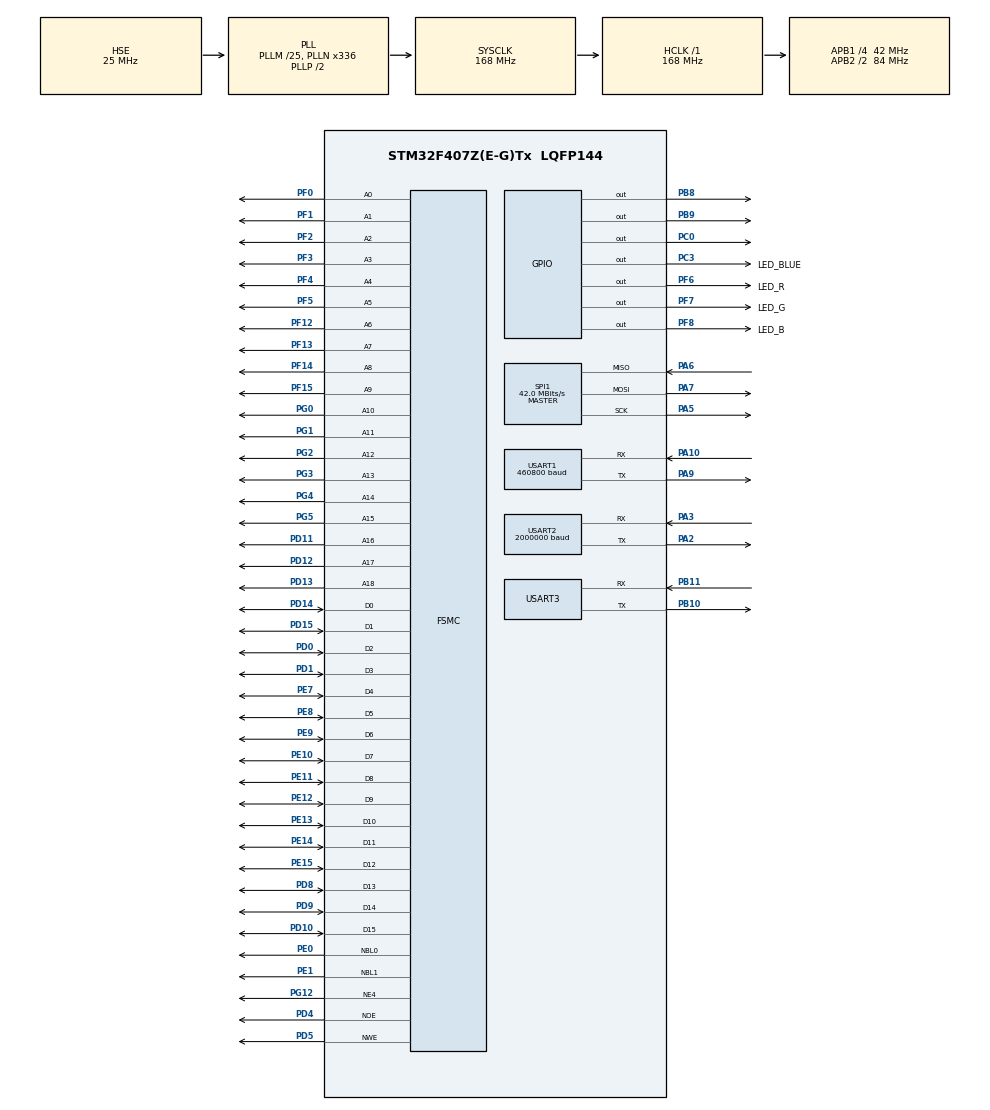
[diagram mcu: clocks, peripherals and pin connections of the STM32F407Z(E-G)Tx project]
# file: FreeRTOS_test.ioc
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FREERTOS.Tasks01=RobotCmd,24,128,robotcmd_task,Default,NULL,Dynamic,NULL,NULL;Imu,24,256,imu_task,Default,NULL,Dynamic,NULL,NULL;Body,24,512,body_task,Default,NULL,Dynamic,NULL,NULL;Remote,24,128,remote_task,Default,NULL,Dynamic,NULL,NULL;SendData,24,128,SendDataTask,Default,NULL,Dynamic,NULL,NULL
FREERTOS.Timers01=led,led_timer,osTimerPeriodic,Default,NULL,Dynamic,NULL
FREERTOS.configTICK_RATE_HZ=1000
FSMC.AddressSetupTime1=5
FSMC.BusTurnAroundDuration1=1
FSMC.DataSetupTime1=7
FSMC.WriteOperation1=FSMC_WRITE_OPERATION_ENABLE
Mcu.Family=STM32F4
Mcu.Name=STM32F407Z(E-G)Tx
Mcu.Package=LQFP144
NVIC.PriorityGroup=NVIC_PRIORITYGROUP_4
NVIC.TIM7_IRQn=true\:0\:0\:false\:false\:true\:false\:false\:true
NVIC.TimeBase=TIM7_IRQn
NVIC.TimeBaseIP=TIM7
NVIC.USART1_IRQn=true\:5\:0\:false\:false\:true\:true\:true\:true
NVIC.USART2_IRQn=true\:5\:0\:false\:false\:true\:true\:true\:true
NVIC.USART3_IRQn=true\:5\:0\:false\:false\:true\:true\:true\:true
PA10.Mode=Asynchronous
PA10.Signal=USART1_RX
PA2.Mode=Asynchronous
PA2.Signal=USART2_TX
PA3.Mode=Asynchronous
PA3.Signal=USART2_RX
PA5.Mode=Full_Duplex_Master
PA5.Signal=SPI1_SCK
PA6.Mode=Full_Duplex_Master
PA6.Signal=SPI1_MISO
PA7.Mode=Full_Duplex_Master
PA7.Signal=SPI1_MOSI
PA9.Mode=Asynchronous
PA9.Signal=USART1_TX
PB10.Mode=Asynchronous
PB10.Signal=USART3_TX
PB11.Mode=Asynchronous
PB11.Signal=USART3_RX
PB8.GPIO_ModeDefaultOutputPP=GPIO_MODE_OUTPUT_PP
PB8.GPIO_PuPd=GPIO_NOPULL
PB8.GPIO_Speed=GPIO_SPEED_FREQ_VERY_HIGH
PB8.PinState=GPIO_PIN_SET
PB8.Signal=GPIO_Output
PB9.GPIO_ModeDefaultOutputPP=GPIO_MODE_OUTPUT_PP
PB9.GPIO_PuPd=GPIO_NOPULL
PB9.GPIO_Speed=GPIO_SPEED_FREQ_VERY_HIGH
PB9.PinState=GPIO_PIN_SET
PB9.Signal=GPIO_Output
PC0.GPIO_ModeDefaultOutputPP=GPIO_MODE_OUTPUT_PP
PC0.GPIO_PuPd=GPIO_NOPULL
PC0.GPIO_Speed=GPIO_SPEED_FREQ_HIGH
PC0.PinState=GPIO_PIN_SET
PC0.Signal=GPIO_Output
PC3.GPIO_Label=LED_BLUE
PC3.GPIO_ModeDefaultOutputPP=GPIO_MODE_OUTPUT_PP
PC3.GPIO_PuPd=GPIO_NOPULL
PC3.GPIO_Speed=GPIO_SPEED_FREQ_LOW
PC3.PinState=GPIO_PIN_SET
PC3.Signal=GPIO_Output
PD0.Signal=FSMC_D2_DA2
PD1.Signal=FSMC_D3_DA3
PD10.Signal=FSMC_D15_DA15
PD11.Signal=FSMC_A16_CLE
PD12.Signal=FSMC_A17_ALE
PD13.Signal=FSMC_A18
PD14.Signal=FSMC_D0_DA0
PD15.Signal=FSMC_D1_DA1
PD4.Signal=FSMC_NOE
PD5.Signal=FSMC_NWE
PD8.Signal=FSMC_D13_DA13
PD9.Signal=FSMC_D14_DA14
PE0.Signal=FSMC_NBL0
PE1.Signal=FSMC_NBL1
PE10.Signal=FSMC_D7_DA7
PE11.Signal=FSMC_D8_DA8
PE12.Signal=FSMC_D9_DA9
PE13.Signal=FSMC_D10_DA10
PE14.Signal=FSMC_D11_DA11
PE15.Signal=FSMC_D12_DA12
PE7.Signal=FSMC_D4_DA4
PE8.Signal=FSMC_D5_DA5
PE9.Signal=FSMC_D6_DA6
PF0.Signal=FSMC_A0
PF1.Signal=FSMC_A1
PF12.Signal=FSMC_A6
PF13.Signal=FSMC_A7
PF14.Signal=FSMC_A8
PF15.Signal=FSMC_A9
PF2.Signal=FSMC_A2
PF3.Signal=FSMC_A3
PF4.Signal=FSMC_A4
PF5.Signal=FSMC_A5
PF6.GPIO_Label=LED_R
PF6.GPIO_ModeDefaultOutputPP=GPIO_MODE_OUTPUT_PP
PF6.GPIO_PuPd=GPIO_NOPULL
PF6.GPIO_Speed=GPIO_SPEED_FREQ_LOW
PF6.PinState=GPIO_PIN_SET
PF6.Signal=GPIO_Output
PF7.GPIO_Label=LED_G
PF7.GPIO_ModeDefaultOutputPP=GPIO_MODE_OUTPUT_PP
PF7.GPIO_PuPd=GPIO_NOPULL
PF7.GPIO_Speed=GPIO_SPEED_FREQ_LOW
PF7.PinState=GPIO_PIN_SET
PF7.Signal=GPIO_Output
PF8.GPIO_Label=LED_B
PF8.GPIO_ModeDefaultOutputPP=GPIO_MODE_OUTPUT_PP
PF8.GPIO_PuPd=GPIO_NOPULL
PF8.GPIO_Speed=GPIO_SPEED_FREQ_LOW
PF8.PinState=GPIO_PIN_SET
PF8.Signal=GPIO_Output
PG0.Signal=FSMC_A10
PG1.Signal=FSMC_A11
PG12.Mode=NorPsramChipSelect4_1
PG12.Signal=FSMC_NE4
PG2.Signal=FSMC_A12
PG3.Signal=FSMC_A13
PG4.Signal=FSMC_A14
PG5.Signal=FSMC_A15
PH0-OSC_IN.Mode=HSE-External-Oscillator
PH0-OSC_IN.Signal=RCC_OSC_IN
PH1-OSC_OUT.Mode=HSE-External-Oscillator
PH1-OSC_OUT.Signal=RCC_OSC_OUT
ProjectManager.HeapSize=0x200
ProjectManager.StackSize=0x400
ProjectManager.TargetToolchain=MDK-ARM V5
RCC.48MHZClocksFreq_Value=84000000
RCC.AHBFreq_Value=168000000
RCC.APB1CLKDivider=RCC_HCLK_DIV4
RCC.APB1Freq_Value=42000000
RCC.APB1TimFreq_Value=84000000
RCC.APB2CLKDivider=RCC_HCLK_DIV2
RCC.APB2Freq_Value=84000000
RCC.APB2TimFreq_Value=168000000
RCC.CortexFreq_Value=168000000
RCC.HCLKFreq_Value=168000000
RCC.HSE_VALUE=25000000
RCC.HSI_VALUE=16000000
RCC.LSE_VALUE=32768
RCC.PLLM=25
RCC.PLLN=336
RCC.PLLSourceVirtual=RCC_PLLSOURCE_HSE
RCC.SYSCLKFreq_VALUE=168000000
RCC.SYSCLKSource=RCC_SYSCLKSOURCE_PLLCLK
RCC.VCOOutputFreq_Value=336000000
SH.FSMC_A0.0=FSMC_A0,19b-a1
SH.FSMC_A1.0=FSMC_A1,19b-a1
SH.FSMC_A10.0=FSMC_A10,19b-a1
SH.FSMC_A11.0=FSMC_A11,19b-a1
SH.FSMC_A12.0=FSMC_A12,19b-a1
SH.FSMC_A13.0=FSMC_A13,19b-a1
SH.FSMC_A14.0=FSMC_A14,19b-a1
SH.FSMC_A15.0=FSMC_A15,19b-a1
SH.FSMC_A16_CLE.0=FSMC_A16,19b-a1
SH.FSMC_A17_ALE.0=FSMC_A17,19b-a1
SH.FSMC_A18.0=FSMC_A18,19b-a1
SH.FSMC_A2.0=FSMC_A2,19b-a1
SH.FSMC_A3.0=FSMC_A3,19b-a1
SH.FSMC_A4.0=FSMC_A4,19b-a1
SH.FSMC_A5.0=FSMC_A5,19b-a1
SH.FSMC_A6.0=FSMC_A6,19b-a1
SH.FSMC_A7.0=FSMC_A7,19b-a1
SH.FSMC_A8.0=FSMC_A8,19b-a1
SH.FSMC_A9.0=FSMC_A9,19b-a1
SH.FSMC_D0_DA0.0=FSMC_D0,16b-d1
SH.FSMC_D10_DA10.0=FSMC_D10,16b-d1
SH.FSMC_D11_DA11.0=FSMC_D11,16b-d1
SH.FSMC_D12_DA12.0=FSMC_D12,16b-d1
SH.FSMC_D13_DA13.0=FSMC_D13,16b-d1
SH.FSMC_D14_DA14.0=FSMC_D14,16b-d1
SH.FSMC_D15_DA15.0=FSMC_D15,16b-d1
SH.FSMC_D1_DA1.0=FSMC_D1,16b-d1
SH.FSMC_D2_DA2.0=FSMC_D2,16b-d1
SH.FSMC_D3_DA3.0=FSMC_D3,16b-d1
SH.FSMC_D4_DA4.0=FSMC_D4,16b-d1
SH.FSMC_D5_DA5.0=FSMC_D5,16b-d1
SH.FSMC_D6_DA6.0=FSMC_D6,16b-d1
SH.FSMC_D7_DA7.0=FSMC_D7,16b-d1
SH.FSMC_D8_DA8.0=FSMC_D8,16b-d1
SH.FSMC_D9_DA9.0=FSMC_D9,16b-d1
SH.FSMC_NBL0.0=FSMC_NBL0,2ByteEnable1
SH.FSMC_NBL1.0=FSMC_NBL1,2ByteEnable1
SH.FSMC_NOE.0=FSMC_NOE,Sram1
SH.FSMC_NWE.0=FSMC_NWE,Sram1
SPI1.CalculateBaudRate=42.0 MBits/s
SPI1.Direction=SPI_DIRECTION_2LINES
SPI1.Mode=SPI_MODE_MASTER
SPI1.VirtualType=VM_MASTER
USART1.BaudRate=460800
USART1.VirtualMode=VM_ASYNC
USART2.BaudRate=2000000
USART2.VirtualMode=VM_ASYNC
USART3.VirtualMode=VM_ASYNC
VP_FREERTOS_VS_CMSIS_V2.Mode=CMSIS_V2
VP_SYS_VS_tim7.Mode=TIM7
board=custom

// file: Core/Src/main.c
/* USER CODE BEGIN Header */
/**
  ******************************************************************************
  * @file           : main.c
  * @brief          : Main program body
  ******************************************************************************
  * @attention
  *
  * <h2><center>&copy; Copyright (c) 2020 STMicroelectronics.
  * All rights reserved.</center></h2>
  *
  * This software component is licensed by ST under Ultimate Liberty license
  * SLA0044, the "License"; You may not use this file except in compliance with
  * the License. You may obtain a copy of the License at:
  *                             www.st.com/SLA0044
  *
  ******************************************************************************
  */
/* USER CODE END Header */

#include "main.h"
#include "cmsis_os.h"
#include "spi.h"
#include "usart.h"
#include "gpio.h"
#include "fsmc.h"

/* USER CODE BEGIN Includes */
#include "stdio.h"
#include "sys.h"
/* USER CODE END Includes */

void SystemClock_Config(void);
void MX_FREERTOS_Init(void);

int main(void)
{

  /* MCU Configuration--------------------------------------------------------*/

  /* Reset of all peripherals, Initializes the Flash interface and the Systick. */
  HAL_Init();

  /* Configure the system clock */
  SystemClock_Config();

  /* Initialize all configured peripherals */
  MX_GPIO_Init();
  MX_USART1_UART_Init();
  MX_USART2_UART_Init();
  MX_USART3_UART_Init();
  MX_FSMC_Init();
  MX_SPI1_Init();

  /* Init scheduler */
  osKernelInitialize();  /* Call init function for freertos objects (in freertos.c) */
  MX_FREERTOS_Init();
  /* Start scheduler */
  osKernelStart();

  /* We should never get here as control is now taken by the scheduler */
  /* Infinite loop */
  while (1)
  {

  }
}

void SystemClock_Config(void)
{
  RCC_OscInitTypeDef RCC_OscInitStruct = {0};
  RCC_ClkInitTypeDef RCC_ClkInitStruct = {0};

  /** Configure the main internal regulator output voltage
  */
  __HAL_RCC_PWR_CLK_ENABLE();
  __HAL_PWR_VOLTAGESCALING_CONFIG(PWR_REGULATOR_VOLTAGE_SCALE1);
  /** Initializes the CPU, AHB and APB busses clocks
  */
  RCC_OscInitStruct.OscillatorType = RCC_OSCILLATORTYPE_HSE;
  RCC_OscInitStruct.HSEState = RCC_HSE_ON;
  RCC_OscInitStruct.PLL.PLLState = RCC_PLL_ON;
  RCC_OscInitStruct.PLL.PLLSource = RCC_PLLSOURCE_HSE;
  RCC_OscInitStruct.PLL.PLLM = 25;
  RCC_OscInitStruct.PLL.PLLN = 336;
  RCC_OscInitStruct.PLL.PLLP = RCC_PLLP_DIV2;
  RCC_OscInitStruct.PLL.PLLQ = 4;
  if (HAL_RCC_OscConfig(&RCC_OscInitStruct) != HAL_OK)
  {
    Error_Handler();
  }
  /** Initializes the CPU, AHB and APB busses clocks
  */
  RCC_ClkInitStruct.ClockType = RCC_CLOCKTYPE_HCLK|RCC_CLOCKTYPE_SYSCLK
                              |RCC_CLOCKTYPE_PCLK1|RCC_CLOCKTYPE_PCLK2;
  RCC_ClkInitStruct.SYSCLKSource = RCC_SYSCLKSOURCE_PLLCLK;
  RCC_ClkInitStruct.AHBCLKDivider = RCC_SYSCLK_DIV1;
  RCC_ClkInitStruct.APB1CLKDivider = RCC_HCLK_DIV4;
  RCC_ClkInitStruct.APB2CLKDivider = RCC_HCLK_DIV2;

  if (HAL_RCC_ClockConfig(&RCC_ClkInitStruct, FLASH_LATENCY_5) != HAL_OK)
  {
    Error_Handler();
  }
}

 /**
  * @brief  Period elapsed callback in non blocking mode
  * @note   This function is called  when TIM7 interrupt took place, inside
  * HAL_TIM_IRQHandler(). It makes a direct call to HAL_IncTick() to increment
  * a global variable "uwTick" used as application time base.
  * @param  htim : TIM handle
  * @retval None
  */
void HAL_TIM_PeriodElapsedCallback(TIM_HandleTypeDef *htim)
{
  if (htim->Instance == TIM7) {
    HAL_IncTick();
  }
}

void Error_Handler(void)
{
}

/************************ (C) COPYRIGHT STMicroelectronics *****END OF FILE****/

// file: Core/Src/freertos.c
/* USER CODE BEGIN Header */
/**
  ******************************************************************************
  * File Name          : freertos.c
  * Description        : Code for freertos applications
  ******************************************************************************
  * @attention
  *
  * <h2><center>&copy; Copyright (c) 2020 STMicroelectronics.
  * All rights reserved.</center></h2>
  *
  * This software component is licensed by ST under Ultimate Liberty license
  * SLA0044, the "License"; You may not use this file except in compliance with
  * the License. You may obtain a copy of the License at:
  *                             www.st.com/SLA0044
  *
  ******************************************************************************
  */
/* USER CODE END Header */

#include "FreeRTOS.h"
#include "task.h"
#include "main.h"
#include "cmsis_os.h"

/* USER CODE BEGIN Includes */
#include "stdio.h"
#include "string.h"
#include "stdlib.h"

#include "sys.h"
#include "robotcmd.h"
#include "body_task.h"
/* USER CODE END Includes */

/* Definitions for RobotCmd */
osThreadId_t RobotCmdHandle;
const osThreadAttr_t RobotCmd_attributes = {
  .name = "RobotCmd",
  .priority = (osPriority_t) osPriorityNormal,
  .stack_size = 128 * 4
};
/* Definitions for Imu */
osThreadId_t ImuHandle;
const osThreadAttr_t Imu_attributes = {
  .name = "Imu",
  .priority = (osPriority_t) osPriorityNormal,
  .stack_size = 256 * 4
};
/* Definitions for Body */
osThreadId_t BodyHandle;
const osThreadAttr_t Body_attributes = {
  .name = "Body",
  .priority = (osPriority_t) osPriorityNormal,
  .stack_size = 512 * 4
};
/* Definitions for Remote */
osThreadId_t RemoteHandle;
const osThreadAttr_t Remote_attributes = {
  .name = "Remote",
  .priority = (osPriority_t) osPriorityNormal,
  .stack_size = 128 * 4
};
/* Definitions for SendData */
osThreadId_t SendDataHandle;
const osThreadAttr_t SendData_attributes = {
  .name = "SendData",
  .priority = (osPriority_t) osPriorityNormal,
  .stack_size = 128 * 4
};
/* Definitions for led */
osTimerId_t ledHandle;
const osTimerAttr_t led_attributes = {
  .name = "led"
};

void robotcmd_task(void *argument);
void imu_task(void *argument);
void body_task(void *argument);
void remote_task(void *argument);
void SendDataTask(void *argument);
void led_timer(void *argument);

void MX_FREERTOS_Init(void); /* (MISRA C 2004 rule 8.1) */

void MX_FREERTOS_Init(void) {

  /* Create the timer(s) */
  /* creation of led */
  ledHandle = osTimerNew(led_timer, osTimerPeriodic, NULL, &led_attributes);

  /* USER CODE BEGIN RTOS_TIMERS */
	osTimerStart(ledHandle,500);
  /* start timers, add new ones, ... */
  /* USER CODE END RTOS_TIMERS */

  /* Create the thread(s) */
  /* creation of RobotCmd */
  RobotCmdHandle = osThreadNew(robotcmd_task, NULL, &RobotCmd_attributes);

  /* creation of Imu */
  ImuHandle = osThreadNew(imu_task, NULL, &Imu_attributes);

  /* creation of Body */
  BodyHandle = osThreadNew(body_task, NULL, &Body_attributes);

  /* creation of Remote */
  RemoteHandle = osThreadNew(remote_task, NULL, &Remote_attributes);

  /* creation of SendData */
  SendDataHandle = osThreadNew(SendDataTask, NULL, &SendData_attributes);

}

void robotcmd_task(void *argument)
{
  /* USER CODE BEGIN robotcmd_task */

  /* Infinite loop */
	for(;;)
	{
		LedStateChange();
		BodyParamChange();
		osDelay(1);
	}
  /* USER CODE END robotcmd_task */
}

void imu_task(void *argument)
{
  /* USER CODE BEGIN imu_task */
	DMP_Init();
  /* Infinite loop */
  for(;;)
  {
	  Read_DMP();
	  osDelay(1);
  }
  /* USER CODE END imu_task */
}

void body_task(void *argument)
{
  /* USER CODE BEGIN body_task */
	BodyInit();
  /* Infinite loop */
  for(;;)
  {
	BodyChange();
	LegChange();
	ServoSendData();
    osDelay(2);
  }
  /* USER CODE END body_task */
}

void remote_task(void *argument)
{
  /* USER CODE BEGIN remote_task */

  /* Infinite loop */
  for(;;)
  {
	remote.last_value = remote.value;
	remote.value.left_x = 0;
	remote.value.right_x = 0;
	remote.value.right_y = 255;
	remote.value.key_1 = 0;
	remote.value.key_2 = 0;
	remote.value.key_3 = 0;
	remote.value.key_4 = 0;
	remote.value.key_5 = 0;
	remote.value.key_6 = 1;

	if(remote.value.left_x != 0 || remote.value.right_x != 0 || remote.value.right_y != 0)
	{
		remote.state = 1;
	}
	else
	{
		remote.state = 0;
	}
	osDelay(1);
  }
  /* USER CODE END remote_task */
}

void SendDataTask(void *argument)
{
  /* USER CODE BEGIN SendDataTask */
	osDelay(2000);
  /* Infinite loop */
  for(;;)
  {
	printf("Yaw:%f\t Pitch:%f\t Roll:%f\n",Yaw,Pitch,Roll);
	printf("%d\t\t %d\t\t %d\n",FR_Leg.position[0],FR_Leg.position[1],FR_Leg.position[2]);
	printf("\n\n\n\n\n\n\n\n\n\n\n\n\n");
	osDelay(100);
  }
  /* USER CODE END SendDataTask */
}

/* led_timer function */
void led_timer(void *argument)
{
  /* USER CODE BEGIN led_timer */
	HAL_GPIO_TogglePin(LED_BLUE_GPIO_Port, LED_BLUE_Pin);
  /* USER CODE END led_timer */
}

/************************ (C) COPYRIGHT STMicroelectronics *****END OF FILE****/
